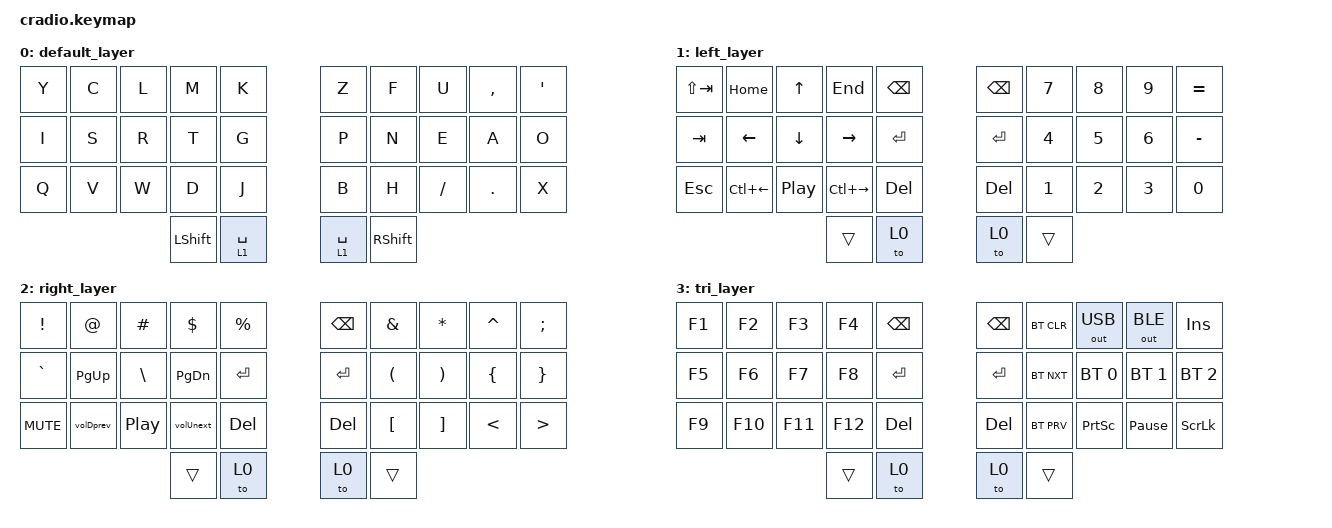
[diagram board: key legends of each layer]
/*
 * Copyright (c) 2020 The ZMK Contributors
 *
 * SPDX-License-Identifier: MIT
 */

#include <behaviors.dtsi>
#include <dt-bindings/zmk/keys.h>
#include <dt-bindings/zmk/bt.h>
#include <dt-bindings/zmk/outputs.h>


&mt {
  //  flavor = "tap-preferred";
   // tapping_term_ms = <150>;
};

/ { 

    combos {
        compatible = "zmk,combos";
        combo_taskmgr {
            timeout-ms = <40>;
            key-positions = <3 4 5>;
            bindings = <&kp LC(LS(ESC))>;
        };    
        combo_CAD {
            timeout-ms = <40>;
            key-positions = <3 4 5 6>;
            bindings = <&kp LC(LA(DEL))>;
        };    
        combo_kapp {
            timeout-ms = <40>;
            key-positions = <31 11>;
            bindings = <&kp K_APP>;
        };    
        combo_lgui {
            timeout-ms = <40>;
            key-positions = <31 10>;
            bindings = <&kp LGUI>;
        };     
        combo_lalt {
            timeout-ms = <40>;
            key-positions = <31 12>;
            bindings = <&kp LALT>;
        };     
        combo_lctl {
            timeout-ms = <40>;
            key-positions = <31 13>;
            bindings = <&kp LCTL>;
        };     
        combo_lctlAlt {
            timeout-ms = <40>;
            key-positions = <31 12 13>;
            bindings = <&kp LA(LCTL)>;
        };  
        combo_lctlT {
            timeout-ms = <50>;
            key-positions = <31 12 13>;
            layers = <0>;
            bindings = <&kp LC(T)>;
        };    
        combo_lctlsftT {
            timeout-ms = <50>;
            key-positions = <30 12 13>;
            layers = <0>;
            bindings = <&kp LC(LS(T))>;
        };    
        combo_L1 {
            timeout-ms = <40>;
            key-positions = <31 23>;
            layers = <0>;
            bindings = <&to 1>;
        };    
        combo_L2 {
            timeout-ms = <40>;
            key-positions = <31 23>;
            layers = <1>;
            bindings = <&to 2>;
        };          
        combo_L3 {
            timeout-ms = <40>;
            key-positions = <31 23>;
            layers = <2>;
            bindings = <&to 3>;
        };      
        
        combo_sl2 {
            timeout-ms = <100>;
            key-positions = <30 33>;
            bindings = <&sl 2>;
        };  
        
        combo_rctl {
            timeout-ms = <40>;
            key-positions = <32 16>;
            bindings = <&kp RCTL>;
        };       
        combo_ralt {
            timeout-ms = <40>;
            key-positions = <32 17>;
            bindings = <&kp RALT>;
        };        
        combo_rctrlAlt {
            timeout-ms = <40>;
            key-positions = <32 16 17>;
            bindings = <&kp RC(RALT)>;
        };       
        combo_rgui {
            timeout-ms = <40>;
            key-positions = <32 19>;
            bindings = <&kp RGUI>;
        };    
        combo_rsl2 {
            timeout-ms = <40>;
            key-positions = <32 18>;
            bindings = <&sl 2>;
        };          
        combo_rL1 {
            timeout-ms = <40>;
            key-positions = <32 26>;
            layers = <0>;
            bindings = <&to 1>;
        };   
        combo_rL2 {
            timeout-ms = <40>;
            key-positions = <32 26>;
            layers = <1>;
            bindings = <&to 2>;
        };  
        combo_rL3 {
            timeout-ms = <40>;
            key-positions = <32 26>;
            layers = <2>;
            bindings = <&to 3>;
        };  
        combo_semicolon {
            timeout-ms = <50>;
            key-positions = <8 9>;
            layers = <0>;
            bindings = <&kp SEMI>;
        };  
        combo_backslash {
            timeout-ms = <50>;
            key-positions = <27 28>;
            layers = <0>;
            bindings = <&kp BSLH>;
        };  
        combo_F2 {
            timeout-ms = <50>;
            key-positions = <1 2>;
            layers = <1>;
            bindings = <&kp F2>;
        };  
        combo_PGDN {
            timeout-ms = <50>;
            key-positions = <12 13>;
            layers = <1>;
            bindings = <&kp PG_DN>;
        };  
        combo_PGUP {
            timeout-ms = <50>;
            key-positions = <2 3>;
            layers = <1>;
            bindings = <&kp PG_UP>;
        };  
        combo_selectall {
            timeout-ms = <50>;
            key-positions = <10 11>;
            layers = <1>;
            bindings = <&kp LC(A)>;
        };  
        combo_undo {
            timeout-ms = <50>;
            key-positions = <20 21>;
            layers = <1>;
            bindings = <&kp LC(Z)>;
        };  
        combo_wintab {
            timeout-ms = <50>;
            key-positions = <10 12>;
            layers = <1>;
            bindings = <&kp LA(TAB)>;
        };  
        combo_ctrltab {
            timeout-ms = <50>;
            key-positions = <11 13>;
            layers = <1>;
            bindings = <&kp LC(TAB)>;
        };  
        combo_ctrlshifttab {
            timeout-ms = <50>;
            key-positions = <1 3>;
            layers = <1>;
            bindings = <&kp LC(LS(TAB))>;
        };  
   
    };
    
    
    behaviors {
        volUnext: vol_up_next {
            compatible = "zmk,behavior-mod-morph";
            label = "VOL_UP_NEXT";
            #binding-cells = <0>;
            bindings = <&kp C_VOL_UP>, <&kp C_NEXT>;
            mods = <(MOD_LSFT|MOD_RSFT)>;
        };
        volDprev: vol_dn_prev {
            compatible = "zmk,behavior-mod-morph";
            label = "VOL_DN_PREV";
            #binding-cells = <0>;
            bindings = <&kp C_VOL_DN>, <&kp C_PREV>;
            mods = <(MOD_LSFT|MOD_RSFT)>;
        };
    };


        keymap {
                compatible = "zmk,keymap";
                
        default_layer {
        bindings = <
        &kp Y  &kp C  &kp L  &kp M   &kp K             &kp Z  &kp F  &kp U      &kp COMMA  &kp SQT 
        &kp I  &kp S  &kp R  &kp T   &kp G             &kp P  &kp N  &kp E      &kp A      &kp O
        &kp Q  &kp V  &kp W  &kp D   &kp J             &kp B  &kp H  &kp SLASH  &kp DOT    &kp X
                           &kp LSHIFT  &lt 1 SPACE   &lt 1 SPACE  &kp RSHIFT
        >;
        };   
  
        left_layer {
        bindings = <
        &kp LS(TAB)  &kp HOME     &kp UP    &kp END        &kp BSPC    &kp BSPC   &kp NUM_7  &kp NUM_8  &kp NUM_9  &kp EQUAL  
        &kp TAB      &kp LEFT     &kp DOWN  &kp RIGHT      &kp RET     &kp RET    &kp NUM_4  &kp NUM_5  &kp NUM_6  &kp MINUS  
        &kp ESC      &kp LC(LEFT) &kp C_PP  &kp LC(RIGHT)  &kp DEL     &kp DEL    &kp NUM_1  &kp NUM_2  &kp NUM_3  &kp NUM_0  
                                            &trans         &to 0       &to 0      &trans      
        >;
        };
        
        right_layer {
        bindings = <
        &kp EXCL    &kp AT     &kp HASH  &kp DLLR   &kp PRCNT    &kp BSPC   &kp AMPS   &kp STAR  &kp CARET &kp SEMI   
        &kp GRAVE   &kp PG_UP  &kp BSLH  &kp PG_DN  &kp RET      &kp RET    &kp LPAR   &kp RPAR  &kp LBRC  &kp RBRC 
        &kp C_MUTE  &volDprev  &kp C_PP  &volUnext  &kp DEL      &kp DEL    &kp LBKT   &kp RBKT  &kp LT    &kp GT  
                                         &trans     &to 0        &to 0      &trans    
        >;
        };  
        
        tri_layer {
        bindings = <
        &kp F1      &kp F2      &kp F3      &kp F4     &kp BSPC    &kp BSPC   &bt BT_CLR  &out OUT_USB &out OUT_BLE    &kp INS     
        &kp F5      &kp F6      &kp F7      &kp F8     &kp RET     &kp RET    &bt BT_NXT  &bt BT_SEL 0 &bt BT_SEL 1    &bt BT_SEL 2 
        &kp F9      &kp F10     &kp F11     &kp F12    &kp DEL     &kp DEL    &bt BT_PRV  &kp PSCRN    &kp PAUSE_BREAK &kp SLCK    
                                            &trans     &to 0       &to 0      &trans    
        >;
        };  
        
    };
};
